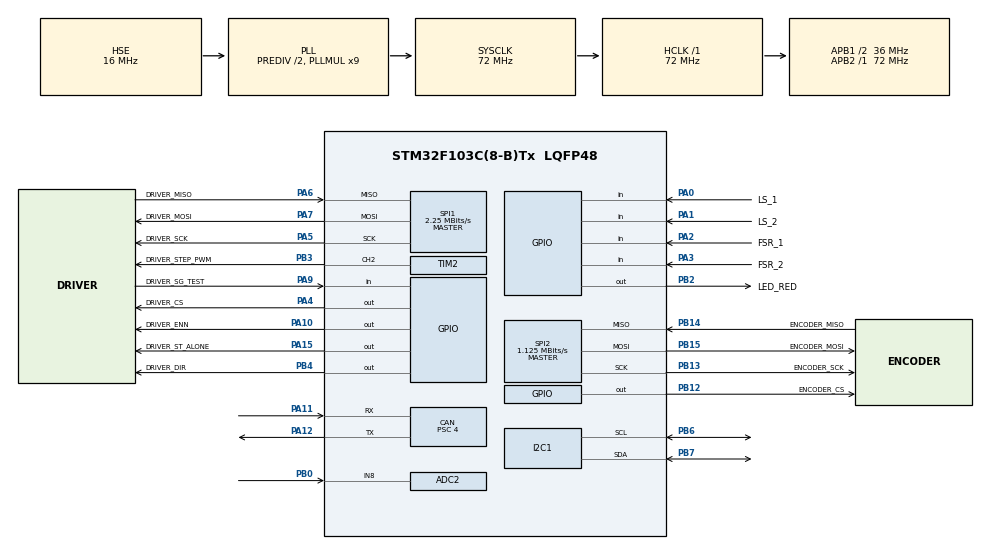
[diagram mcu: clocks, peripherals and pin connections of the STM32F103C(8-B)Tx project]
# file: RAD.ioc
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ADC2.ContinuousConvMode=DISABLE
ADC2.EnableRegularConversion=DISABLE
CAN.BS1=CAN_BS1_15TQ
CAN.BS2=CAN_BS2_2TQ
CAN.CalculateBaudRate=500000
CAN.CalculateTimeBit=2000
CAN.CalculateTimeQuantum=111.11111111111111
CAN.NART=ENABLE
CAN.Prescaler=4
CAN.SJW=CAN_SJW_2TQ
Dma.Request0=TIM2_CH2/CH4
Dma.TIM2_CH2/CH4.0.Direction=DMA_PERIPH_TO_MEMORY
Dma.TIM2_CH2/CH4.0.Instance=DMA1_Channel7
Dma.TIM2_CH2/CH4.0.MemDataAlignment=DMA_MDATAALIGN_HALFWORD
Dma.TIM2_CH2/CH4.0.MemInc=DMA_MINC_ENABLE
Dma.TIM2_CH2/CH4.0.Mode=DMA_NORMAL
Dma.TIM2_CH2/CH4.0.PeriphDataAlignment=DMA_PDATAALIGN_HALFWORD
Dma.TIM2_CH2/CH4.0.PeriphInc=DMA_PINC_DISABLE
Dma.TIM2_CH2/CH4.0.Priority=DMA_PRIORITY_LOW
Mcu.Family=STM32F1
Mcu.Name=STM32F103C(8-B)Tx
Mcu.Package=LQFP48
NVIC.DMA1_Channel7_IRQn=true\:0\:0\:false\:false\:true\:false\:true\:true
NVIC.PriorityGroup=NVIC_PRIORITYGROUP_4
NVIC.USB_LP_CAN1_RX0_IRQn=true\:2\:0\:true\:false\:true\:true\:true\:true
PA0-WKUP.GPIO_Label=LS_1
PA0-WKUP.Signal=GPIO_Input
PA1.GPIO_Label=LS_2
PA1.Signal=GPIO_Input
PA10.GPIO_Label=DRIVER_ENN
PA10.Signal=GPIO_Output
PA11.Mode=CAN_Activate
PA11.Signal=CAN_RX
PA12.Mode=CAN_Activate
PA12.Signal=CAN_TX
PA13.Mode=Serial_Wire
PA13.Signal=SYS_JTMS-SWDIO
PA14.Mode=Serial_Wire
PA14.Signal=SYS_JTCK-SWCLK
PA15.GPIO_Label=DRIVER_ST_ALONE
PA15.Signal=GPIO_Output
PA2.GPIO_Label=FSR_1
PA2.Signal=GPIO_Input
PA3.GPIO_Label=FSR_2
PA3.Signal=GPIO_Input
PA4.GPIO_Label=DRIVER_CS
PA4.Signal=GPIO_Output
PA5.GPIO_Label=DRIVER_SCK
PA5.Mode=Full_Duplex_Master
PA5.Signal=SPI1_SCK
PA6.GPIO_Label=DRIVER_MISO
PA6.Mode=Full_Duplex_Master
PA6.Signal=SPI1_MISO
PA7.GPIO_Label=DRIVER_MOSI
PA7.Mode=Full_Duplex_Master
PA7.Signal=SPI1_MOSI
PA9.GPIO_Label=DRIVER_SG_TEST
PA9.Signal=GPIO_Input
PB0.Signal=ADCx_IN8
PB12.GPIO_Label=ENCODER_CS
PB12.Signal=GPIO_Output
PB13.GPIO_Label=ENCODER_SCK
PB13.Mode=Full_Duplex_Master
PB13.Signal=SPI2_SCK
PB14.GPIO_Label=ENCODER_MISO
PB14.Mode=Full_Duplex_Master
PB14.Signal=SPI2_MISO
PB15.GPIO_Label=ENCODER_MOSI
PB15.Mode=Full_Duplex_Master
PB15.Signal=SPI2_MOSI
PB2.GPIO_Label=LED_RED
PB2.Signal=GPIO_Output
PB3.GPIO_Label=DRIVER_STEP_PWM
PB3.Signal=S_TIM2_CH2
PB4.GPIO_Label=DRIVER_DIR
PB4.Signal=GPIO_Output
PB6.Mode=I2C
PB6.Signal=I2C1_SCL
PB7.Mode=I2C
PB7.Signal=I2C1_SDA
PD0-OSC_IN.Mode=HSE-External-Oscillator
PD0-OSC_IN.Signal=RCC_OSC_IN
PD1-OSC_OUT.Mode=HSE-External-Oscillator
PD1-OSC_OUT.Signal=RCC_OSC_OUT
ProjectManager.HeapSize=0x200
ProjectManager.StackSize=0x400
ProjectManager.TargetToolchain=STM32CubeIDE
RCC.ADCPresc=RCC_ADCPCLK2_DIV6
RCC.AHBFreq_Value=72000000
RCC.APB1CLKDivider=RCC_HCLK_DIV2
RCC.APB1Freq_Value=36000000
RCC.APB1TimFreq_Value=72000000
RCC.APB2Freq_Value=72000000
RCC.APB2TimFreq_Value=72000000
RCC.HCLKFreq_Value=72000000
RCC.HSEDivPLL=RCC_HSE_PREDIV_DIV2
RCC.HSE_VALUE=16000000
RCC.PLLMUL=RCC_PLL_MUL9
RCC.PLLSourceVirtual=RCC_PLLSOURCE_HSE
RCC.SYSCLKFreq_VALUE=72000000
RCC.SYSCLKSource=RCC_SYSCLKSOURCE_PLLCLK
RCC.USBFreq_Value=72000000
SH.ADCx_IN8.0=ADC2_IN8,IN8
SH.S_TIM2_CH2.0=TIM2_CH2,PWM Generation2 CH2
SPI1.BaudRatePrescaler=SPI_BAUDRATEPRESCALER_32
SPI1.CLKPhase=SPI_PHASE_2EDGE
SPI1.CLKPolarity=SPI_POLARITY_HIGH
SPI1.CalculateBaudRate=2.25 MBits/s
SPI1.Direction=SPI_DIRECTION_2LINES
SPI1.Mode=SPI_MODE_MASTER
SPI1.VirtualType=VM_MASTER
SPI2.BaudRatePrescaler=SPI_BAUDRATEPRESCALER_32
SPI2.CLKPhase=SPI_PHASE_2EDGE
SPI2.CalculateBaudRate=1.125 MBits/s
SPI2.Direction=SPI_DIRECTION_2LINES
SPI2.Mode=SPI_MODE_MASTER
SPI2.VirtualType=VM_MASTER
TIM2.Channel-PWM\ Generation2\ CH2=TIM_CHANNEL_2
TIM2.OCMode_PWM-PWM\ Generation2\ CH2=TIM_OCMODE_PWM2
TIM2.Period=100-1
TIM2.Prescaler=720-1
VP_TIM2_VS_ClockSourceINT.Mode=Internal
board=custom

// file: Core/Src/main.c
/* USER CODE BEGIN Header */
/**
 ******************************************************************************
 * @file           : main.c
 * @brief          : Main program body
 ******************************************************************************
 * @attention
 *
 * Copyright (c) 2024 MMRT.
 * All rights reserved.
 *
 * This software is licensed under terms that can be found in the LICENSE file
 * in the root directory of this software component.
 * If no LICENSE file comes with this software, it is provided AS-IS.
 *
 ******************************************************************************
 */
/* USER CODE END Header */
#include "main.h"
#include "adc.h"
#include "can.h"
#include "dma.h"
#include "i2c.h"
#include "spi.h"
#include "tim.h"
#include "gpio.h"

/* USER CODE BEGIN Includes */
#include "at24c04c.h"
#include "tmc_2590.h"
#include "as5048a.h"
#include "pid.h"
#include "queue.h"
#include "enc_dec_utils.h"
#include "rad_ntcb572.h"
/* USER CODE END Includes */

/* USER CODE BEGIN PD */
#define RAD_PARAMS_EEPROM_PAGE 0
#define HARDSTOP_SAFETY_MARGIN 5
#define AVERAGING_WINDOW_SIZE 10

#define MOTOR_GEARING gearing
#define STEPS_PER_REVOLUTION steps_per_revolution
#define MAX_ROTATIONS max_rotations

/* USER CODE END PD */

/* USER CODE BEGIN PV */
RAD_STATUS_TypeDef rad_status;
RAD_PARAMS_TypeDef rad_params;

uint8_t ESTOP = 0;
uint8_t DISABLED = 0;

uint16_t min_angle;
uint16_t max_angle;
uint16_t gearing;
uint16_t max_rotations;
uint16_t steps_per_revolution;

float software_stop = 0;
uint8_t cw_enable = 0;
uint8_t ccw_enable = 0;

double* angle_average_buffer;
uint8_t buffer_head;

int16_t steps_to_move;

uint32_t prev_ms = 0;

/* USER CODE END PV */

void SystemClock_Config(void);

int main(void)
{

  /* USER CODE BEGIN 1 */

    //SET DEFAULT VALUES

	rad_params.RAD_ID = 0xF0;
    rad_params.RAD_TYPE = RAD_TYPE_UNDEFINED;
    rad_params.HOME_POSITION = RAD_TYPE_DRIVETRAIN_MAX_ROTATIONS/2;
    rad_params.STEPPER_SPEED = 1000;
    rad_params.ODOM_INTERVAL = 20; //50hz, or 20ms
    rad_params.HEALTH_INTERVAL = 1000; //every second
    rad_params.P = 0.01;
    rad_params.I = 0.0000001;
    rad_params.D = 0;

    rad_params.CHOPCONF_CHM = 0b0;
    rad_params.CHOPCONF_HDEC = 0b00;
    rad_params.CHOPCONF_HEND = 0b0100;
    rad_params.CHOPCONF_HSTRT = 0b110;
    rad_params.CHOPCONF_RNDTF = 0b0;
    rad_params.CHOPCONF_TBL = 0b10;
    rad_params.CHOPCONF_TOFF = 0b100;

    rad_params.DRVCONF_DIS_S2G = 0b0;
    rad_params.DRVCONF_EN_PFD = 0b1;
    rad_params.DRVCONF_EN_S2VS = 0b1;
    rad_params.DRVCONF_OTSENS = 0b0;
    rad_params.DRVCONF_RDSEL = 0b11;
    rad_params.DRVCONF_SDOFF = 0b0;
    rad_params.DRVCONF_SHRTSENS = 0b1;
    rad_params.DRVCONF_SLP = 0b11110;
    rad_params.DRVCONF_TS2G = 0b00;
    rad_params.DRVCONF_TST = 0b0;
    rad_params.DRVCONF_VSENSE = 0b0;

    rad_params.DRVCTRL_DEDGE = 0b0;
    rad_params.DRVCTRL_INTPOL = 0b1;
    rad_params.DRVCTRL_MRES = 0b1000;

    rad_params.SGCSCONF_CS = 5;
    rad_params.SGCSCONF_SFILT = 0b0;
    rad_params.SGCSCONF_SGT = 0b0000010;

    rad_params.SMARTEN_SEDN = 0b00;
    rad_params.SMARTEN_SEIMIN = 0b0;
    rad_params.SMARTEN_SEMAX = 0b0000;
    rad_params.SMARTEN_SEMIN = 0b0000;
    rad_params.SMARTEN_SEUP = 0b00;

    rad_params.PID_MIN_OUTPUT = 20;
    rad_params.PID_MAX_OUTPUT = 1000;

    rad_params.HOME_OFFSET = 0;

    rad_params.SW_STOP_ENABLED = 0;
    rad_params.WATCH_DOG_ENABLED = 0;

  /* USER CODE END 1 */

  /* MCU Configuration--------------------------------------------------------*/

  /* Reset of all peripherals, Initializes the Flash interface and the Systick. */
  HAL_Init();

  /* Configure the system clock */
  SystemClock_Config();

  /* Initialize all configured peripherals */
  MX_GPIO_Init();
  MX_DMA_Init();
  MX_CAN_Init();
  MX_I2C1_Init();
  MX_SPI1_Init();
  MX_SPI2_Init();
  MX_TIM2_Init();
  MX_ADC2_Init();
  /* USER CODE BEGIN 2 */

    //READ EEPROM HERE. Update rad_params if successful read

    MX_AT24C04C_1_Init();

    //temporary so we don't cook stepper settings from reading garbage data from eeprom
    RAD_PARAMS_TypeDef eeprom_params;

    rad_status.EEPROM_STATUS = AT24C04C_ReadPages(&at24c04c_1, (uint8_t*)&eeprom_params, sizeof(RAD_PARAMS_TypeDef), RAD_PARAMS_EEPROM_PAGE);

    if (rad_status.EEPROM_STATUS == AT24C04C_OK)
    {
        //NORMAL OPERATION
       rad_params = eeprom_params;

    //     IGNORE EEPROM AND SET DEFAULT PARAMS FOR FIRST EEPROM SAVE
//     rad_params.RAD_ID = 0x19;
//     rad_params.RAD_TYPE = RAD_TYPE_ARM_WRIST_RIGHT;
//     rad_params.ODOM_INTERVAL = 100;
//     rad_params.HEALTH_INTERVAL = 1000;

    }

    rad_status.flags = (rad_params.SW_STOP_ENABLED) | (rad_params.WATCH_DOG_ENABLED | rad_params.MOTION_PROFILE_ENABLED);

    MX_TMC_2590_1_Init();
    MX_AS5048A_1_Init();
    MX_PID_1_Init();
    MX_RAD_NTCB572_Init();

    switch(rad_params.RAD_TYPE)
    {
        case RAD_TYPE_DRIVETRAIN_LIMIT_SWITCH_RIGHT:
        case RAD_TYPE_DRIVETRAIN_LIMIT_SWITCH_LEFT:
        {
            MAX_ROTATIONS = RAD_TYPE_DRIVETRAIN_MAX_ROTATIONS;
            MOTOR_GEARING = RAD_TYPE_DRIVETRAIN_GEARING;
            STEPS_PER_REVOLUTION = RAD_TYPE_DRIVETRAIN_STEPS_PER_REVOLUTION;
            tmc_2590_1.Init.inverted = RAD_TYPE_DRIVETRAIN_INVERSION_FACTOR;

            break;
        }
        case RAD_TYPE_ARM_BASE:
        {
            MAX_ROTATIONS = RAD_TYPE_ARM_BASE_MAX_ROTATIONS;
            MOTOR_GEARING = RAD_TYPE_ARM_BASE_GEARING;
            STEPS_PER_REVOLUTION = RAD_TYPE_ARM_BASE_STEPS_PER_REVOLUTION;
            tmc_2590_1.Init.inverted = RAD_TYPE_DRIVETRAIN_INVERSION_FACTOR;
            break;
        }
        case RAD_TYPE_ARM_SHOULDER:
        {
            MAX_ROTATIONS = RAD_TYPE_ARM_SHOULDER_MAX_ROTATIONS;
            MOTOR_GEARING = RAD_TYPE_ARM_SHOULDER_GEARING;
            STEPS_PER_REVOLUTION = RAD_TYPE_ARM_SHOULDER_STEPS_PER_REVOLUTION;
            tmc_2590_1.Init.inverted = RAD_TYPE_ARM_INVERSION_FACTOR;
            break;
        }
        case RAD_TYPE_ARM_ELBOW:
        {
            MAX_ROTATIONS = RAD_TYPE_ARM_ELBOW_MAX_ROTATIONS;
            MOTOR_GEARING = RAD_TYPE_ARM_ELBOW_GEARING;
            STEPS_PER_REVOLUTION = RAD_TYPE_ARM_ELBOW_STEPS_PER_REVOLUTION;
            tmc_2590_1.Init.inverted = RAD_TYPE_ARM_INVERSION_FACTOR;
            break;
        }
        case RAD_TYPE_ARM_WRIST_LEFT:
        case RAD_TYPE_ARM_WRIST_RIGHT:
        {
            MAX_ROTATIONS = RAD_TYPE_DRIVETRAIN_MAX_ROTATIONS;
            MOTOR_GEARING = RAD_TYPE_DRIVETRAIN_GEARING;
            STEPS_PER_REVOLUTION = RAD_TYPE_DRIVETRAIN_STEPS_PER_REVOLUTION;
            // Wrist motors are the same as drive train
            tmc_2590_1.Init.inverted = RAD_TYPE_DRIVETRAIN_INVERSION_FACTOR;
            break;
        }
        case RAD_TYPE_ARM_GRIPPER:
        {
            MAX_ROTATIONS = RAD_TYPE_DRIVETRAIN_MAX_ROTATIONS;
            MOTOR_GEARING = RAD_TYPE_DRIVETRAIN_GEARING;
            STEPS_PER_REVOLUTION = RAD_TYPE_DRIVETRAIN_STEPS_PER_REVOLUTION;
            tmc_2590_1.Init.inverted = RAD_TYPE_ARM_INVERSION_FACTOR;
            break;
        }
        case RAD_TYPE_UNDEFINED:
        default:
        {
            MAX_ROTATIONS = 5; //60 degrees
            MOTOR_GEARING = RAD_TYPE_DRIVETRAIN_GEARING;
            STEPS_PER_REVOLUTION = RAD_TYPE_DRIVETRAIN_STEPS_PER_REVOLUTION;
            tmc_2590_1.Init.inverted = RAD_TYPE_ARM_INVERSION_FACTOR;

            break;
        }
    }

    min_angle = 0;
    max_angle = 360 * MAX_ROTATIONS / MOTOR_GEARING;

    angle_average_buffer = (double*) calloc(AVERAGING_WINDOW_SIZE, sizeof(double));

    MX_CAN_UpdateIdAndFilters(&rad_can);

    uint32_t arr = HAL_TIM_CalculateAutoReload(tmc_2590_1.Init.STEP_Tim, rad_params.STEPPER_SPEED);

    TMC_2590_SetTimAutoReload(&tmc_2590_1, arr);

    //SEND ERROR CODES OF EACH INIT MODULE
    MX_CAN_Broadcast_Health_Message(&rad_can, rad_status);

  /* USER CODE END 2 */

  /* Infinite loop */
  /* USER CODE BEGIN WHILE */

    static enum
    {
        RAD_STATE_INIT = 0,
        RAD_STATE_PULSE_CONTROL,
        RAD_STATE_CALIBRATION,
        RAD_STATE_ACTIVE
    } rad_state = RAD_STATE_INIT;

    while (1)
    {
        //Check and process global messages first
        if (!queue_empty(&can_message_queue_global))
        {
            RAD_CAN_Message_TypeDef *new_message =
                    (RAD_CAN_Message_TypeDef*) queue_front(
                            &can_message_queue_global);

            switch ((int)(new_message->command_id))
            {
                case ESTOP_MESSAGE:
                {
                    ESTOP = 1;
                    break;
                }
                case DISABLE_MESSAGE:
                {
                    DISABLED = 1;
                    break;
                }
                case ENABLE_MESSAGE:
                {
                    rad_state = RAD_STATE_PULSE_CONTROL;
                    DISABLED = 0;
                    break;
                }
                case HEALTH_STATUS_PING:
                {
                    MX_CAN_Broadcast_Health_Message(&rad_can, rad_status);
                    break;
                }
                default:
                {
                    break;
                }
            }

            free(new_message->data);
            queue_dequeue(&can_message_queue_global);
        }
        //Only check rad queue after. This allows global messages to be addressed immediately
        else if (!queue_empty(&can_message_queue_rad))
        {
            RAD_CAN_Message_TypeDef *new_message =
                    (RAD_CAN_Message_TypeDef*) queue_front(
                            &can_message_queue_rad);

            switch ((int)(new_message->command_id))
            {

                case SET_TARGET_ANGLE:
                {
                    double new_setpoint = decode_double_big_endian(new_message->data);

                    if (rad_params.RAD_TYPE != RAD_TYPE_ARM_WRIST_LEFT &&
                        rad_params.RAD_TYPE != RAD_TYPE_ARM_WRIST_RIGHT)
                    {
                        if (new_setpoint < min_angle)
                        {
                            new_setpoint = min_angle;
                        }
                        else if (new_setpoint > max_angle)
                        {
                            new_setpoint = max_angle;
                        }
                        PID_ChangeSetPoint(&pid_1, new_setpoint*MOTOR_GEARING);
                    }
                    else
                    {
                        // Set raw setpoint for wrist motors
                        PID_ChangeSetPoint(&pid_1, new_setpoint);
                    }

                    // Enable Watch Dog here
                    if (rad_params.WATCH_DOG_ENABLED)
                    {
                    	rad_can.watchdog_kick = 1;
                    }
                    break;
                }
                case GET_ENCODER_VALUE:
                {
                    rad_status.current_angle = (double) (pid_1.feedback_adj / MOTOR_GEARING); //skip the buffer
                    MX_CAN_Broadcast_Odometry_Message(&rad_can, rad_status);
                    break;
                }
                case SET_STEPPER_SPEED:
                {
                    //1 calculate ARR from inputted desired freq
                    //Will be an integer floor divide so will not always be the same as input

                	uint32_t arr = HAL_TIM_CalculateAutoReload(tmc_2590_1.Init.STEP_Tim,
                        decode_uint32_big_endian(new_message->data));

                    //2 assign ARR to timer

                    TMC_2590_SetTimAutoReload(&tmc_2590_1, arr);

                    //3 update local stepper speed reference to the integer value

                    rad_params.STEPPER_SPEED = HAL_TIM_CalculateFrequency(tmc_2590_1.Init.STEP_Tim);

                    break;
                }
                case GET_STEPPER_SPEED:
                {
                    MX_CAN_Broadcast_Uint32_Data(&rad_can, rad_params.STEPPER_SPEED, GET_STEPPER_SPEED);
                    break;
                }
                case SET_RAD_FLAGS:
                {
                	uint8_t flags = new_message->data[0];
                	rad_params.SW_STOP_ENABLED = flags & (1 << 0);
                	rad_params.WATCH_DOG_ENABLED = flags & (1 << 1);
                	rad_status.flags = (rad_params.SW_STOP_ENABLED) | (rad_params.WATCH_DOG_ENABLED);
                	break;
                }
                case GET_RAD_FLAGS:
                {
                	MX_CAN_Broadcast_Uint8_Data(&rad_can, rad_status.flags, GET_RAD_FLAGS);
                	break;
                }
                case SET_P_VALUE:
                {
                    pid_1.Init.kp = decode_double_big_endian(new_message->data);
                    rad_params.P = pid_1.Init.kp;
                    break;
                }
                case GET_P_VALUE:
                {
                    MX_CAN_Broadcast_Double_Data(&rad_can, pid_1.Init.kp, GET_P_VALUE);
                    break;
                }
                case SET_I_VALUE:
                {
                    pid_1.Init.ki = decode_double_big_endian(new_message->data);
                    rad_params.I = pid_1.Init.ki;
                    break;
                }
                case GET_I_VALUE:
                {
                    MX_CAN_Broadcast_Double_Data(&rad_can, pid_1.Init.ki, GET_I_VALUE);
                    break;
                }
                case SET_D_VALUE:
                {
                    pid_1.Init.kd = decode_double_big_endian(new_message->data);
                    rad_params.D = pid_1.Init.kd;
                    break;
                }
                case GET_D_VALUE:
                {
                    MX_CAN_Broadcast_Double_Data(&rad_can, pid_1.Init.kd, GET_D_VALUE);
                    break;
                }
                case SET_RAD_TYPE:
                {
                    rad_params.RAD_TYPE = new_message->data[0];
                    break;
                }
                case GET_RAD_TYPE:
                {
                    MX_CAN_Broadcast_Uint32_Data(&rad_can, rad_params.RAD_TYPE, GET_RAD_TYPE);
                    break;
                }
                case SET_HOME_POSITION:
                {
                    rad_params.HOME_POSITION = decode_uint32_big_endian(new_message->data);
                    break;
                }
                case GET_HOME_POSITION:
                {
                    MX_CAN_Broadcast_Uint32_Data(&rad_can, rad_params.HOME_POSITION, GET_HOME_POSITION);
                    break;
                }
                case SET_ODOM_INTERVAL:
                {
                    rad_params.ODOM_INTERVAL = decode_uint32_big_endian(new_message->data);
                    break;
                }
                case GET_ODOM_INTERVAL:
                {
                    MX_CAN_Broadcast_Uint32_Data(&rad_can, rad_params.ODOM_INTERVAL, GET_ODOM_INTERVAL);
                    break;
                }
                case SAVE_TO_EEPROM:
                {
                    AT24C04C_WritePages(&at24c04c_1, (uint8_t*)&rad_params, sizeof(RAD_PARAMS_TypeDef), RAD_PARAMS_EEPROM_PAGE);
                    break;
                }
                case RELOAD_FROM_EEPROM:
                {
                    AT24C04C_ReadPages(&at24c04c_1, (uint8_t*)&rad_params, sizeof(RAD_PARAMS_TypeDef), RAD_PARAMS_EEPROM_PAGE);
                    break;
                }
                case SET_HEALTH_INTERVAL:
                {
                    rad_params.HEALTH_INTERVAL = decode_uint32_big_endian(new_message->data);
                    break;
                }
                case GET_HEALTH_INTERVAL:
                {
                    MX_CAN_Broadcast_Uint32_Data(&rad_can, rad_params.HEALTH_INTERVAL, GET_HEALTH_INTERVAL);
                    break;
                }
                case START_CALIBRATE:
                {
                    rad_state = RAD_STATE_CALIBRATION;
                    break;
                }
                case CANCEL_CALIBRATION:
                {
                    //cancel mid calibration OR ignore calibrated params and return to pulse
                    rad_state = RAD_STATE_INIT;
                    break;
                }
                case SET_DRVCONF_TST:
                {
                    tmc_2590_1.ConfRegisters.DRVCONF.tst = new_message->data[0]; //uint8, big endian
                    rad_status.TMC_STATUS = TMC_2590_WriteConfRegisters(&tmc_2590_1);
                    rad_params.DRVCONF_TST = tmc_2590_1.ConfRegisters.DRVCONF.tst;
                    break;
                }
                case GET_DRVCONF_TST:
                {
                    MX_CAN_Broadcast_Uint8_Data(&rad_can, tmc_2590_1.ConfRegisters.DRVCONF.tst, GET_DRVCONF_TST);
                    break;
                }
                case SET_DRVCONF_SLP:
                {
                    tmc_2590_1.ConfRegisters.DRVCONF.slp = new_message->data[0]; //uint8, big endian
                    rad_status.TMC_STATUS = TMC_2590_WriteConfRegisters(&tmc_2590_1);
                    rad_params.DRVCONF_SLP = tmc_2590_1.ConfRegisters.DRVCONF.slp;
                    break;
                }
                case GET_DRVCONF_SLP:
                {
                    MX_CAN_Broadcast_Uint8_Data(&rad_can, tmc_2590_1.ConfRegisters.DRVCONF.slp, GET_DRVCONF_SLP);
                    break;
                }
                case SET_DRVCONF_DIS_S2G:
                {
                    tmc_2590_1.ConfRegisters.DRVCONF.dis_s2g = new_message->data[0]; //uint8, big endian
                    rad_status.TMC_STATUS = TMC_2590_WriteConfRegisters(&tmc_2590_1);
                    rad_params.DRVCONF_DIS_S2G= tmc_2590_1.ConfRegisters.DRVCONF.dis_s2g;
                    break;
                }
                case GET_DRVCONF_DIS_S2G:
                {
                    MX_CAN_Broadcast_Uint8_Data(&rad_can, tmc_2590_1.ConfRegisters.DRVCONF.dis_s2g, GET_DRVCONF_DIS_S2G);
                    break;
                }
                case SET_DRVCONF_TS2G:
                {
                    tmc_2590_1.ConfRegisters.DRVCONF.ts2g = new_message->data[0]; //uint8, big endian
                    rad_status.TMC_STATUS = TMC_2590_WriteConfRegisters(&tmc_2590_1);
                    rad_params.DRVCONF_TS2G = tmc_2590_1.ConfRegisters.DRVCONF.ts2g;
                    break;
                }
                case GET_DRVCONF_TS2G:
                {
                    MX_CAN_Broadcast_Uint8_Data(&rad_can, tmc_2590_1.ConfRegisters.DRVCONF.ts2g, GET_DRVCONF_TS2G);
                    break;
                }
                case SET_DRVCONF_SDOFF:
                {
                    tmc_2590_1.ConfRegisters.DRVCONF.sdoff = new_message->data[0]; //uint8, big endian
                    rad_status.TMC_STATUS = TMC_2590_WriteConfRegisters(&tmc_2590_1);
                    rad_params.DRVCONF_SDOFF = tmc_2590_1.ConfRegisters.DRVCONF.sdoff;
                    break;
                }
                case GET_DRVCONF_SDOFF:
                {
                    MX_CAN_Broadcast_Uint8_Data(&rad_can, tmc_2590_1.ConfRegisters.DRVCONF.sdoff, GET_DRVCONF_SDOFF);
                    break;
                }
                case SET_DRVCONF_VSENSE:
                {
                    tmc_2590_1.ConfRegisters.DRVCONF.vsense = new_message->data[0]; //uint8, big endian
                    rad_status.TMC_STATUS = TMC_2590_WriteConfRegisters(&tmc_2590_1);
                    rad_params.DRVCONF_VSENSE = tmc_2590_1.ConfRegisters.DRVCONF.vsense;
                    break;
                }
                case GET_DRVCONF_VSENSE:
                {
                    MX_CAN_Broadcast_Uint8_Data(&rad_can, tmc_2590_1.ConfRegisters.DRVCONF.vsense, GET_DRVCONF_VSENSE);
                    break;
                }
                case SET_DRVCONF_RDSEL:
                {
                    tmc_2590_1.ConfRegisters.DRVCONF.rdsel = new_message->data[0]; //uint8, big endian
                    rad_status.TMC_STATUS = TMC_2590_WriteConfRegisters(&tmc_2590_1);
                    rad_params.DRVCONF_RDSEL = tmc_2590_1.ConfRegisters.DRVCONF.rdsel;
                    break;
                }
                case GET_DRVCONF_RDSEL:
                {
                    MX_CAN_Broadcast_Uint8_Data(&rad_can, tmc_2590_1.ConfRegisters.DRVCONF.rdsel, GET_DRVCONF_RDSEL);
                    break;
                }
                case SET_DRVCONF_OTSENS:
                {
                    tmc_2590_1.ConfRegisters.DRVCONF.otsens = new_message->data[0]; //uint8, big endian
                    rad_status.TMC_STATUS = TMC_2590_WriteConfRegisters(&tmc_2590_1);
                    rad_params.DRVCONF_OTSENS = tmc_2590_1.ConfRegisters.DRVCONF.otsens;
                    break;
                }
                case GET_DRVCONF_OTSENS:
                {
                    MX_CAN_Broadcast_Uint8_Data(&rad_can, tmc_2590_1.ConfRegisters.DRVCONF.otsens, GET_DRVCONF_OTSENS);
                    break;
                }
                case SET_DRVCONF_SHRTSENS:
                {
                    tmc_2590_1.ConfRegisters.DRVCONF.shrtsens = new_message->data[0]; //uint8, big endian
                    rad_status.TMC_STATUS = TMC_2590_WriteConfRegisters(&tmc_2590_1);
                    rad_params.DRVCONF_SHRTSENS = tmc_2590_1.ConfRegisters.DRVCONF.shrtsens;
                    break;
                }
                case GET_DRVCONF_SHRTSENS:
                {
                    MX_CAN_Broadcast_Uint8_Data(&rad_can, tmc_2590_1.ConfRegisters.DRVCONF.shrtsens, GET_DRVCONF_SHRTSENS);
                    break;
                }
                case SET_DRVCONF_EN_PFD:
                {
                    tmc_2590_1.ConfRegisters.DRVCONF.en_pfd = new_message->data[0]; //uint8, big endian
                    rad_status.TMC_STATUS = TMC_2590_WriteConfRegisters(&tmc_2590_1);
                    rad_params.DRVCONF_EN_PFD = tmc_2590_1.ConfRegisters.DRVCONF.en_pfd;
                    break;
                }
                case GET_DRVCONF_EN_PFD:
                {
                    MX_CAN_Broadcast_Uint8_Data(&rad_can, tmc_2590_1.ConfRegisters.DRVCONF.en_pfd, GET_DRVCONF_EN_PFD);
                    break;
                }
                case SET_DRVCONF_EN_S2VS:
                {
                    tmc_2590_1.ConfRegisters.DRVCONF.en_s2vs = new_message->data[0]; //uint8, big endian
                    rad_status.TMC_STATUS = TMC_2590_WriteConfRegisters(&tmc_2590_1);
                    rad_params.DRVCONF_EN_S2VS = tmc_2590_1.ConfRegisters.DRVCONF.en_s2vs;
                    break;
                }
                case GET_DRVCONF_EN_S2VS:
                {
                    MX_CAN_Broadcast_Uint8_Data(&rad_can, tmc_2590_1.ConfRegisters.DRVCONF.en_s2vs, GET_DRVCONF_EN_S2VS);
                    break;
                }
                case SET_SGCSCONF_SFILT:
                {
                    tmc_2590_1.ConfRegisters.SGCSCONF.sfilt = new_message->data[0]; //uint8, big endian
                    rad_status.TMC_STATUS = TMC_2590_WriteConfRegisters(&tmc_2590_1);
                    rad_params.SGCSCONF_SFILT = tmc_2590_1.ConfRegisters.SGCSCONF.sfilt;
                    break;
                }
                case GET_SGCSCONF_SFILT:
                {
                    MX_CAN_Broadcast_Uint8_Data(&rad_can, tmc_2590_1.ConfRegisters.SGCSCONF.sfilt, GET_SGCSCONF_SFILT);
                    break;
                }
                case SET_SGCSCONF_SGT:
                {
                    tmc_2590_1.ConfRegisters.SGCSCONF.sgt = new_message->data[0]; //uint8, big endian
                    rad_status.TMC_STATUS = TMC_2590_WriteConfRegisters(&tmc_2590_1);
                    rad_params.SGCSCONF_SGT = tmc_2590_1.ConfRegisters.SGCSCONF.sgt;
                    break;
                }
                case GET_SGCSCONF_SGT:
                {
                    MX_CAN_Broadcast_Uint8_Data(&rad_can, tmc_2590_1.ConfRegisters.SGCSCONF.sgt, GET_SGCSCONF_SGT);
                    break;
                }
                case SET_SGCSCONF_CS:
                {
                    tmc_2590_1.ConfRegisters.SGCSCONF.cs = new_message->data[0]; //uint8, big endian
                    rad_status.TMC_STATUS = TMC_2590_WriteConfRegisters(&tmc_2590_1);
                    rad_params.SGCSCONF_CS = tmc_2590_1.ConfRegisters.SGCSCONF.cs;
                    break;
                }
                case GET_SGCSCONF_CS:
                {
                    MX_CAN_Broadcast_Uint8_Data(&rad_can, tmc_2590_1.ConfRegisters.SGCSCONF.cs, GET_SGCSCONF_CS);
                    break;
                }
                case SET_SMARTEN_SEIMIN:
                {
                    tmc_2590_1.ConfRegisters.SMARTEN.seimin = new_message->data[0]; //uint8, big endian
                    rad_status.TMC_STATUS = TMC_2590_WriteConfRegisters(&tmc_2590_1);
                    rad_params.SMARTEN_SEIMIN = tmc_2590_1.ConfRegisters.SMARTEN.seimin;
                    break;
                }
                case GET_SMARTEN_SEIMIN:
                {
                    MX_CAN_Broadcast_Uint8_Data(&rad_can, tmc_2590_1.ConfRegisters.SMARTEN.seimin, GET_SMARTEN_SEIMIN);
                    break;
                }
                case SET_SMARTEN_SEDN:
                {
                    tmc_2590_1.ConfRegisters.SMARTEN.sedn = decode_uint16_big_endian(new_message->data); //uint8, big endian
                    rad_status.TMC_STATUS = TMC_2590_WriteConfRegisters(&tmc_2590_1);
                    rad_params.SMARTEN_SEDN = tmc_2590_1.ConfRegisters.SMARTEN.sedn;
                    break;
                }
                case GET_SMARTEN_SEDN:
                {
                    MX_CAN_Broadcast_Uint16_Data(&rad_can, tmc_2590_1.ConfRegisters.SMARTEN.sedn, GET_SMARTEN_SEDN);
                    break;
                }
                case SET_SMARTEN_SEMAX:
                {
                    tmc_2590_1.ConfRegisters.SMARTEN.semax = new_message->data[0]; //uint8, big endian
                    rad_status.TMC_STATUS = TMC_2590_WriteConfRegisters(&tmc_2590_1);
                    rad_params.SMARTEN_SEMAX = tmc_2590_1.ConfRegisters.SMARTEN.semax;
                    break;
                }
                case GET_SMARTEN_SEMAX:
                {
                    MX_CAN_Broadcast_Uint8_Data(&rad_can, tmc_2590_1.ConfRegisters.SMARTEN.semax, GET_SMARTEN_SEMAX);
                    break;
                }
                case SET_SMARTEN_SEUP:
                {
                    tmc_2590_1.ConfRegisters.SMARTEN.seup = new_message->data[0]; //uint8, big endian
                    rad_status.TMC_STATUS = TMC_2590_WriteConfRegisters(&tmc_2590_1);
                    rad_params.SMARTEN_SEUP = tmc_2590_1.ConfRegisters.SMARTEN.seup;
                    break;
                }
                case GET_SMARTEN_SEUP:
                {
                    MX_CAN_Broadcast_Uint8_Data(&rad_can, tmc_2590_1.ConfRegisters.SMARTEN.seup, GET_SMARTEN_SEUP);
                    break;
                }
                case SET_SMARTEN_SEMIN:
                {
                    tmc_2590_1.ConfRegisters.SMARTEN.semin = new_message->data[0]; //uint8, big endian
                    rad_status.TMC_STATUS = TMC_2590_WriteConfRegisters(&tmc_2590_1);
                    rad_params.SMARTEN_SEMIN = tmc_2590_1.ConfRegisters.SMARTEN.semin;
                    break;
                }
                case GET_SMARTEN_SEMIN:
                {
                    MX_CAN_Broadcast_Uint8_Data(&rad_can, tmc_2590_1.ConfRegisters.SMARTEN.semin, GET_SMARTEN_SEMIN);
                    break;
                }
                case SET_CHOPCONF_TBL:
                {
                    tmc_2590_1.ConfRegisters.CHOPCONF.tbl = new_message->data[0]; //uint8, big endian
                    rad_status.TMC_STATUS = TMC_2590_WriteConfRegisters(&tmc_2590_1);
                    rad_params.CHOPCONF_TBL = tmc_2590_1.ConfRegisters.CHOPCONF.tbl;
                    break;
                }
                case GET_CHOPCONF_TBL:
                {
                    MX_CAN_Broadcast_Uint8_Data(&rad_can, tmc_2590_1.ConfRegisters.CHOPCONF.tbl, GET_CHOPCONF_TBL);
                    break;
                }
                case SET_CHOPCONF_CHM:
                {
                    tmc_2590_1.ConfRegisters.CHOPCONF.chm = new_message->data[0]; //uint8, big endian
                    rad_status.TMC_STATUS = TMC_2590_WriteConfRegisters(&tmc_2590_1);
                    rad_params.CHOPCONF_CHM = tmc_2590_1.ConfRegisters.CHOPCONF.chm;
                    break;
                }
                case GET_CHOPCONF_CHM:
                {
                    MX_CAN_Broadcast_Uint8_Data(&rad_can, tmc_2590_1.ConfRegisters.CHOPCONF.chm, GET_CHOPCONF_CHM);
                    break;
                }
                case SET_CHOPCONF_RNDTF:
                {
                    tmc_2590_1.ConfRegisters.CHOPCONF.rndtf = new_message->data[0]; //uint8, big endian
                    rad_status.TMC_STATUS = TMC_2590_WriteConfRegisters(&tmc_2590_1);
                    rad_params.CHOPCONF_RNDTF = tmc_2590_1.ConfRegisters.CHOPCONF.rndtf;
                    break;
                }
                case GET_CHOPCONF_RNDTF:
                {
                    MX_CAN_Broadcast_Uint8_Data(&rad_can, tmc_2590_1.ConfRegisters.CHOPCONF.rndtf, GET_CHOPCONF_RNDTF);
                    break;
                }
                case SET_CHOPCONF_HDEC:
                {
                    tmc_2590_1.ConfRegisters.CHOPCONF.hdec = new_message->data[0]; //uint8, big endian
                    rad_status.TMC_STATUS = TMC_2590_WriteConfRegisters(&tmc_2590_1);
                    rad_params.CHOPCONF_HDEC = tmc_2590_1.ConfRegisters.CHOPCONF.hdec;
                    break;
                }
                case GET_CHOPCONF_HDEC:
                {
                    MX_CAN_Broadcast_Uint8_Data(&rad_can, tmc_2590_1.ConfRegisters.CHOPCONF.hdec, GET_CHOPCONF_HDEC);
                    break;
                }
                case SET_CHOPCONF_HEND:
                {
                    tmc_2590_1.ConfRegisters.CHOPCONF.hend = new_message->data[0]; //uint8, big endian
                    rad_status.TMC_STATUS = TMC_2590_WriteConfRegisters(&tmc_2590_1);
                    rad_params.CHOPCONF_HEND = tmc_2590_1.ConfRegisters.CHOPCONF.hend;
                    break;
                }
                case GET_CHOPCONF_HEND:
                {
                    MX_CAN_Broadcast_Uint8_Data(&rad_can, tmc_2590_1.ConfRegisters.CHOPCONF.hend, GET_CHOPCONF_HEND);
                    break;
                }
                case SET_CHOPCONF_HSTRT:
                {
                    tmc_2590_1.ConfRegisters.CHOPCONF.hstrt = new_message->data[0]; //uint8, big endian
                    rad_status.TMC_STATUS = TMC_2590_WriteConfRegisters(&tmc_2590_1);
                    rad_params.CHOPCONF_HSTRT = tmc_2590_1.ConfRegisters.CHOPCONF.hstrt;
                    break;
                }
                case GET_CHOPCONF_HSTRT:
                {
                    MX_CAN_Broadcast_Uint8_Data(&rad_can, tmc_2590_1.ConfRegisters.CHOPCONF.hstrt, GET_CHOPCONF_HSTRT);
                    break;
                }
                case SET_CHOPCONF_TOFF:
                {
                    tmc_2590_1.ConfRegisters.CHOPCONF.toff = new_message->data[0]; //uint8, big endian
                    rad_status.TMC_STATUS = TMC_2590_WriteConfRegisters(&tmc_2590_1);
                    rad_params.CHOPCONF_TOFF = tmc_2590_1.ConfRegisters.CHOPCONF.toff;
                    break;
                }
                case GET_CHOPCONF_TOFF:
                {
                    MX_CAN_Broadcast_Uint8_Data(&rad_can, tmc_2590_1.ConfRegisters.CHOPCONF.toff, GET_CHOPCONF_TOFF);
                    break;
                }
                case SET_DRVCTRL_INTPOL:
                {
                    tmc_2590_1.ConfRegisters.DRVCTRL.intpol = new_message->data[0]; //uint8, big endian
                    rad_status.TMC_STATUS = TMC_2590_WriteConfRegisters(&tmc_2590_1);
                    rad_params.DRVCTRL_INTPOL = tmc_2590_1.ConfRegisters.DRVCTRL.intpol;
                    break;
                }
                case GET_DRVCTRL_INTPOL:
                {
                    MX_CAN_Broadcast_Uint8_Data(&rad_can, tmc_2590_1.ConfRegisters.DRVCTRL.intpol, GET_DRVCTRL_INTPOL);
                    break;
                }
                case SET_DRVCTRL_DEDGE:
                {
                    tmc_2590_1.ConfRegisters.DRVCTRL.dedge = new_message->data[0]; //uint8, big endian
                    rad_status.TMC_STATUS = TMC_2590_WriteConfRegisters(&tmc_2590_1);
                    rad_params.DRVCTRL_DEDGE = tmc_2590_1.ConfRegisters.DRVCTRL.dedge;
                    break;
                }
                case GET_DRVCTRL_DEDGE:
                {
                    MX_CAN_Broadcast_Uint8_Data(&rad_can, tmc_2590_1.ConfRegisters.DRVCTRL.dedge, GET_DRVCTRL_DEDGE);
                    break;
                }
                case SET_DRVCTRL_MRES:
                {
                    tmc_2590_1.ConfRegisters.DRVCTRL.mres = new_message->data[0]; //uint8, big endian
                    rad_status.TMC_STATUS = TMC_2590_WriteConfRegisters(&tmc_2590_1);
                    rad_params.DRVCTRL_MRES = tmc_2590_1.ConfRegisters.DRVCTRL.mres;
                    break;
                }
                case GET_DRVCTRL_MRES:
                {
                    MX_CAN_Broadcast_Uint8_Data(&rad_can, tmc_2590_1.ConfRegisters.DRVCTRL.mres, GET_DRVCTRL_MRES);
                    break;
                }
                case PULSE_STEPPER:
                {
                    float pulses = decode_float_big_endian(new_message->data);
                    steps_to_move = (int16_t) pulses;

                    //cap steps
                    if (steps_to_move > tmc_2590_1.Init.max_steps)
                    {
                        steps_to_move = tmc_2590_1.Init.max_steps;
                    }
                    else if (steps_to_move < -1*(tmc_2590_1.Init.max_steps))
                    {
                        steps_to_move = -1*tmc_2590_1.Init.max_steps;
                    }

                    rad_state = RAD_STATE_PULSE_CONTROL;

                    break;
                }
                case REBOOT:
                {
                	HAL_NVIC_SystemReset();
                    break;
                }
                case ASSIGN_DEVICE_ID:
                {
                    rad_can.id = new_message->data[0];
                    rad_params.RAD_ID = rad_can.id;

                    MX_CAN_UpdateIdAndFilters(&rad_can);

                    break;
                }
                case SET_PID_MIN_OUTPUT:
                {
                    pid_1.Init.min_output_abs = (double) decode_uint16_big_endian(new_message->data);
                    rad_params.PID_MIN_OUTPUT = pid_1.Init.min_output_abs;

                    break;
                }
                case GET_PID_MIN_OUTPUT:
                {
                    MX_CAN_Broadcast_Uint16_Data(&rad_can, pid_1.Init.min_output_abs, GET_PID_MIN_OUTPUT);
                    break;
                }
                case SET_PID_MAX_OUTPUT:
                {
                    pid_1.Init.max_output_abs = (double) decode_uint16_big_endian(new_message->data);
                    rad_params.PID_MAX_OUTPUT = pid_1.Init.max_output_abs;

                    break;
                }
                case GET_PID_MAX_OUTPUT:
                {
                    MX_CAN_Broadcast_Uint16_Data(&rad_can, (uint16_t) pid_1.Init.max_output_abs, GET_PID_MAX_OUTPUT);
                    break;
                }
                case SET_HOME_OFFSET:
                {

                    //don't apply offset without working encoder
                    // if (rad_status.ENCODER_STATUS != AS5048A_OK)
                    // {
                    //     break;
                    // }

                    // //number of steps the stepper is offset by
                    // double delta_stepper = (pid_1.__set_point - pid_1.feedback_adj);

                    // //store values in PID reference frame
                    // rad_params.HOME_OFFSET = delta_stepper;

                    break;

                }
                case GET_HOME_OFFSET:
                {
                    //MX_CAN_Broadcast_Double_Data(&rad_can, rad_params.HOME_OFFSET, GET_HOME_OFFSET);
                    break;
                }

                case SET_MAX_POINT:
                {
                    // For wrist
                    PID_SetMaxPoint(&pid_1, new_message->data[0]);
                    PID_ChangeSetPoint(&pid_1, (new_message->data[0]) * MAX_ROTATIONS);
                    PID_Update_BangBang(&pid_1);
                    rad_state = RAD_STATE_ACTIVE;
                    break;
                }
                case SET_ZERO_POINT:
                {
                    // For wrist
                    PID_SetZeroPoint(&pid_1);
                    PID_ChangeSetPoint(&pid_1, 0.0);
                    PID_Update_BangBang(&pid_1);
                    rad_state = RAD_STATE_ACTIVE;
                    break;
                }
                default:
                    break;
            }
            free(new_message->data);
            queue_dequeue(&can_message_queue_rad);

        }

        //CHECK FOR ESTOP
        if (ESTOP)
        {
        	HAL_GPIO_WritePin(LED_RED_GPIO_Port, LED_RED_Pin, GPIO_PIN_SET);
            break;
        }
        if (DISABLED)
        {
        	steps_to_move = 0;
        	HAL_GPIO_WritePin(LED_RED_GPIO_Port, LED_RED_Pin, GPIO_PIN_SET);
            continue;
        }
        else
        {
        	HAL_GPIO_WritePin(LED_RED_GPIO_Port, LED_RED_Pin, GPIO_PIN_RESET);
        }

        switch (rad_state)
        {

            case RAD_STATE_INIT:
            {
                //init stuff here
                rad_state = RAD_STATE_PULSE_CONTROL;
                break;
            }
            case RAD_STATE_PULSE_CONTROL:
            {
                GPIO_PinState ls_state = HAL_GPIO_ReadPin(LS_1_GPIO_Port, LS_1_Pin);
                GPIO_PinState ls_state_2 = HAL_GPIO_ReadPin(LS_2_GPIO_Port, LS_2_Pin);

                rad_status.ls_1 = ls_state;
                rad_status.ls_2 = ls_state_2;

                cw_enable = 1;
        	    ccw_enable = 1;

                if (ls_state == GPIO_PIN_SET)
                {
                    switch (rad_params.RAD_TYPE)
                    {

                        case RAD_TYPE_DRIVETRAIN_LIMIT_SWITCH_RIGHT:
                        {
                            cw_enable = 0;
                            ccw_enable = 1;
                            break;
                        }
                        case RAD_TYPE_DRIVETRAIN_LIMIT_SWITCH_LEFT:
                        {
                            cw_enable = 1;
                            ccw_enable = 0;
                            break;
                        }
                        case RAD_TYPE_ARM_SHOULDER:
                        {
                            cw_enable = 0;
                            ccw_enable = 1;
                            break;
                        }
                        case RAD_TYPE_ARM_ELBOW:
                        {
                            cw_enable = 0;
                            ccw_enable = 1;
                            break;
                        }

                        default:
                            break;
				    }
                }
                if (ls_state_2 == GPIO_PIN_SET)
                {
                    switch (rad_params.RAD_TYPE)
                    {
                        case RAD_TYPE_ARM_SHOULDER:
                        {
                            cw_enable = 1;
                            ccw_enable = 0;
                            break;
                        }
                        case RAD_TYPE_ARM_ELBOW:
                        {
                            cw_enable = 1;
                            ccw_enable = 0;
                            break;
                        }

                        default:
                            break;
				    }

                }

                if (!rad_params.SW_STOP_ENABLED)
                {
                	cw_enable = 1;
                	ccw_enable = 1;
                }

                if ((steps_to_move > 0) && cw_enable)
                {

                    if (TMC_2590_CheckState(&tmc_2590_1) == TMC_2590_BUSY)
                    {
                        TMC_2590_Stop(&tmc_2590_1);
                    }
                    rad_status.TMC_STATUS = TMC_2590_MoveSteps(&tmc_2590_1, steps_to_move);
                }
                else if ((steps_to_move < 0) && ccw_enable)
                {
                    if (TMC_2590_CheckState(&tmc_2590_1) == TMC_2590_BUSY)
                    {
                        TMC_2590_Stop(&tmc_2590_1);
                    }
                    rad_status.TMC_STATUS = TMC_2590_MoveSteps(&tmc_2590_1, steps_to_move);
                }

                steps_to_move = 0;

                //keep the encoder updated if we still have it - for open loop
                if ((rad_status.ENCODER_STATUS = AS5048A_ReadAngle(&as5048a_1)) == AS5048A_OK)
                {
                    PID_Update_RolloverCount(&pid_1);
                }

                break;
            }
            case RAD_STATE_CALIBRATION:
            {

                GPIO_PinState ls_state = HAL_GPIO_ReadPin(LS_1_GPIO_Port, LS_1_Pin);
                rad_status.ls_1 = ls_state;

                GPIO_PinState ls_state_2 = HAL_GPIO_ReadPin(LS_2_GPIO_Port, LS_2_Pin);
				rad_status.ls_2 = ls_state_2;

                if (ls_state == GPIO_PIN_SET)
                {
                    TMC_2590_Stop(&tmc_2590_1);
                    switch (rad_params.RAD_TYPE)
                    {
                        case RAD_TYPE_DRIVETRAIN_LIMIT_SWITCH_RIGHT:

                            PID_SetMaxPoint(&pid_1, MAX_ROTATIONS);
                            PID_ChangeSetPoint(&pid_1, max_angle*MOTOR_GEARING);
                            software_stop = min_angle;

                            break;
                        case RAD_TYPE_DRIVETRAIN_LIMIT_SWITCH_LEFT:

                            PID_SetZeroPoint(&pid_1);
                            PID_ChangeSetPoint(&pid_1, min_angle*MOTOR_GEARING);

                            software_stop = max_angle;
                            break;

                        case RAD_TYPE_ARM_SHOULDER:
                            PID_SetZeroPoint(&pid_1);
                            PID_ChangeSetPoint(&pid_1, 0.0);
                            break;

                        case RAD_TYPE_ARM_BASE:
                            PID_SetZeroPoint(&pid_1);
                            break;

                        case RAD_TYPE_ARM_ELBOW:
                            PID_SetMaxPoint(&pid_1, RAD_TYPE_ARM_ELBOW_MAX_ROTATIONS);
                            PID_ChangeSetPoint(&pid_1, RAD_TYPE_ARM_ELBOW_MAX_ROTATIONS*360);
                            break;

                        default:
                            break;
                    }

                    PID_Update_BangBang(&pid_1);
                    PID_Update_BangBang(&pid_1);
                    PID_Update_BangBang(&pid_1);

                    //PID_Update(&pid_1);

                    rad_state = RAD_STATE_ACTIVE;
        	    }
                else if (ls_state_2 == GPIO_PIN_SET && rad_params.RAD_TYPE > RAD_TYPE_DRIVETRAIN_LIMIT_SWITCH_LEFT)
                {
                    TMC_2590_Stop(&tmc_2590_1);
                    switch (rad_params.RAD_TYPE)
                    {
                        case RAD_TYPE_ARM_SHOULDER:
                            PID_SetMaxPoint(&pid_1, RAD_TYPE_ARM_SHOULDER_MAX_ROTATIONS);
                            PID_ChangeSetPoint(&pid_1, RAD_TYPE_ARM_SHOULDER_MAX_ROTATIONS*360);
                            break;

                        case RAD_TYPE_ARM_ELBOW:
                            PID_SetZeroPoint(&pid_1);
                            PID_ChangeSetPoint(&pid_1, 0);
                            break;
                        default:
                            break;
                    }

                    PID_Update_BangBang(&pid_1);
                    PID_Update_BangBang(&pid_1);
                    PID_Update_BangBang(&pid_1);

                    rad_state = RAD_STATE_ACTIVE;

                }
                else
                {
                    switch (rad_params.RAD_TYPE)
                    {
                        case RAD_TYPE_DRIVETRAIN_LIMIT_SWITCH_RIGHT:
                        {
                            rad_status.TMC_STATUS = TMC_2590_MoveSteps(&tmc_2590_1, 50);
                            break;
                        }
                        case RAD_TYPE_DRIVETRAIN_LIMIT_SWITCH_LEFT:
                        {
                            rad_status.TMC_STATUS = TMC_2590_MoveSteps(&tmc_2590_1, -50);
                            break;
                        }
                        case RAD_TYPE_ARM_SHOULDER:
                        {
                            rad_status.TMC_STATUS = TMC_2590_MoveSteps(&tmc_2590_1, 500);
                            break;
                        }
                        case RAD_TYPE_ARM_ELBOW:
                        {
                            rad_status.TMC_STATUS = TMC_2590_MoveSteps(&tmc_2590_1, 500);
                            break;
                        }

                    default:
                        break;
                    }
                }

                break;
            }
            case RAD_STATE_ACTIVE:
            {

                cw_enable = 1;
        	    ccw_enable = 1;

                GPIO_PinState ls_state = HAL_GPIO_ReadPin(LS_1_GPIO_Port, LS_1_Pin);
                rad_status.ls_1 = ls_state;

                GPIO_PinState ls_state_2 = HAL_GPIO_ReadPin(LS_2_GPIO_Port, LS_2_Pin);
                rad_status.ls_2 = ls_state_2;

                uint8_t i = 0; //safety limit
                static uint8_t consecutive_encoder_failures = 0;
                while ((rad_status.ENCODER_STATUS = AS5048A_ReadAngle(&as5048a_1)) != AS5048A_OK)
                {
                    if (i++ > 10)
                    {
                        break;
                    }
                }

                if (rad_status.ENCODER_STATUS != AS5048A_OK)
                {
                    if (consecutive_encoder_failures++ > 3)
                    {
                         //encoder has failed
                        rad_state = RAD_STATE_PULSE_CONTROL;
                    }
                    ccw_enable = 0;
                    cw_enable = 0;
                }
                else
                {
                    //reset failure counter
                    consecutive_encoder_failures = 0;

                    //Don't update PID unless we have a new value
                    PID_Update_BangBang(&pid_1);
                }

                 if (rad_params.SW_STOP_ENABLED && ls_state == GPIO_PIN_SET)
                {
                    switch (rad_params.RAD_TYPE)
                    {

                        case RAD_TYPE_DRIVETRAIN_LIMIT_SWITCH_RIGHT:
                        {

                            PID_SetMaxPoint(&pid_1, MAX_ROTATIONS);

                            cw_enable = 0;
                            ccw_enable = 1;
                            break;
                        }
                        case RAD_TYPE_DRIVETRAIN_LIMIT_SWITCH_LEFT:
                        {

                            PID_SetZeroPoint(&pid_1);

                            cw_enable = 1;
                            ccw_enable = 0;
                            break;
                        }
                        case RAD_TYPE_ARM_SHOULDER:
                        {
                            PID_SetZeroPoint(&pid_1);
                            cw_enable = 0;
                            ccw_enable = 1;
                            break;
                        }
                        case RAD_TYPE_ARM_ELBOW:
                        {
                            cw_enable = 0;
                            ccw_enable = 1;
                            break;
                        }
                        default:
                            break;
				    }

                }
                else if (rad_params.SW_STOP_ENABLED && ls_state_2 == GPIO_PIN_SET)
                {
                    switch (rad_params.RAD_TYPE)
                    {
                        case RAD_TYPE_ARM_SHOULDER:
                        {
                            PID_SetMaxPoint(&pid_1, RAD_TYPE_ARM_SHOULDER_MAX_ROTATIONS);
                            cw_enable = 1;
                            ccw_enable = 0;
                            break;
                        }
                        case RAD_TYPE_ARM_ELBOW:
                        {
                            cw_enable = 1;
                            ccw_enable = 0;
                            break;
                        }

                        default:
                            break;
				    }

                }
                else
                {
                    switch (rad_params.RAD_TYPE)
                    {
                        case RAD_TYPE_DRIVETRAIN_LIMIT_SWITCH_RIGHT:
                        {
                            if ((pid_1.feedback_adj / MOTOR_GEARING) <= (software_stop + HARDSTOP_SAFETY_MARGIN))
                            {
                                cw_enable = 1;
                                ccw_enable = 0;
                                PID_ClearIError(&pid_1);
                            }
                            break;
                        }
                        case RAD_TYPE_DRIVETRAIN_LIMIT_SWITCH_LEFT:
                        {
                            if ((pid_1.feedback_adj / MOTOR_GEARING) >= (software_stop - HARDSTOP_SAFETY_MARGIN))
                            {
                                cw_enable = 0;
                                ccw_enable = 1;
                                PID_ClearIError(&pid_1);
                            }
                            break;
                        }

                        default:
                            break;
                    }
                }

                //convert degrees to steps
                int16_t angle_to_steps_converstion = (int16_t) (pid_1.output * (double) STEPS_PER_REVOLUTION / 360.0); // 0.555555556

                if ((pid_1.output > 0) && cw_enable)
                {
                    rad_status.TMC_STATUS = TMC_2590_MoveSteps(&tmc_2590_1, angle_to_steps_converstion);
                }
                else if ((pid_1.output < 0) && ccw_enable)
                {
                    rad_status.TMC_STATUS = TMC_2590_MoveSteps(&tmc_2590_1, angle_to_steps_converstion);
                }
                else if ((cw_enable == 0) || (ccw_enable == 0))
                {
                    TMC_2590_Stop(&tmc_2590_1);
                }

                // Once timeout is exceeded, disable close loop control
                if (rad_can.watchdog_kick && rad_can.timer > CAN_MESSAGE_TIMEOUT_MS)
                {
                    rad_state = RAD_STATE_PULSE_CONTROL;
                    rad_can.watchdog_kick = 0;
                }

                break;
            }
            default:
            {
                rad_state = RAD_STATE_INIT;
                break;
            }
        }

        //angle_average_buffer[buffer_head++ % AVERAGING_WINDOW_SIZE] = (double) (pid_1.feedback_adj / MOTOR_GEARING);

        if ((rad_params.ODOM_INTERVAL != 0) && (HAL_GetTick() % rad_params.ODOM_INTERVAL == 0))
        {
//             double sum = 0;
//             for (int i = 0; i < AVERAGING_WINDOW_SIZE; i++)
//             {
//                 sum = sum + angle_average_buffer[i];
//             }
            //rad_status.current_angle = (double) sum / AVERAGING_WINDOW_SIZE;
            if (rad_params.RAD_TYPE != RAD_TYPE_ARM_WRIST_LEFT &&
                rad_params.RAD_TYPE != RAD_TYPE_ARM_WRIST_RIGHT)
            {
                rad_status.current_angle = (double) (pid_1.feedback_adj / MOTOR_GEARING);
            }
            else
            {
                rad_status.current_angle = (double) (pid_1.feedback_adj);
            }
        	//rad_status.current_angle = (double) pid_1.output;
            //AS5048A_ReadAngle(&as5048a_1);
            //rad_status.current_angle = as5048a_1.Angle_double;

            MX_CAN_Broadcast_Odometry_Message(&rad_can, rad_status);
        }
        if ((rad_params.HEALTH_INTERVAL != 0) && (HAL_GetTick() % rad_params.HEALTH_INTERVAL == 0))
        {
            rad_status.RAD_STATE = rad_state;
            //Update TMC state as it changes asynchrnously
            rad_status.TMC_STATUS = TMC_2590_CheckState(&tmc_2590_1);

            rad_status.NTC_STATUS = NTC_ReadTemperatureC(&rad_ntc1, &rad_status.temperature);
            if (rad_status.NTC_STATUS == NTC_OK)
            {
                MX_CAN_Broadcast_Double_Data(&rad_can, rad_status.temperature, SEND_TEMPERATURE);
            }

            MX_CAN_Broadcast_Health_Message(&rad_can, rad_status);

        }

        rad_can.timer += HAL_GetTick() - prev_ms;
        prev_ms = HAL_GetTick();

    /* USER CODE END WHILE */

    }
}

void SystemClock_Config(void)
{
  RCC_OscInitTypeDef RCC_OscInitStruct = {0};
  RCC_ClkInitTypeDef RCC_ClkInitStruct = {0};
  RCC_PeriphCLKInitTypeDef PeriphClkInit = {0};

  /** Initializes the RCC Oscillators according to the specified parameters
  * in the RCC_OscInitTypeDef structure.
  */
  RCC_OscInitStruct.OscillatorType = RCC_OSCILLATORTYPE_HSE;
  RCC_OscInitStruct.HSEState = RCC_HSE_ON;
  RCC_OscInitStruct.HSEPredivValue = RCC_HSE_PREDIV_DIV2;
  RCC_OscInitStruct.HSIState = RCC_HSI_ON;
  RCC_OscInitStruct.PLL.PLLState = RCC_PLL_ON;
  RCC_OscInitStruct.PLL.PLLSource = RCC_PLLSOURCE_HSE;
  RCC_OscInitStruct.PLL.PLLMUL = RCC_PLL_MUL9;
  if (HAL_RCC_OscConfig(&RCC_OscInitStruct) != HAL_OK)
  {
    Error_Handler();
  }

  /** Initializes the CPU, AHB and APB buses clocks
  */
  RCC_ClkInitStruct.ClockType = RCC_CLOCKTYPE_HCLK|RCC_CLOCKTYPE_SYSCLK
                              |RCC_CLOCKTYPE_PCLK1|RCC_CLOCKTYPE_PCLK2;
  RCC_ClkInitStruct.SYSCLKSource = RCC_SYSCLKSOURCE_PLLCLK;
  RCC_ClkInitStruct.AHBCLKDivider = RCC_SYSCLK_DIV1;
  RCC_ClkInitStruct.APB1CLKDivider = RCC_HCLK_DIV2;
  RCC_ClkInitStruct.APB2CLKDivider = RCC_HCLK_DIV1;

  if (HAL_RCC_ClockConfig(&RCC_ClkInitStruct, FLASH_LATENCY_2) != HAL_OK)
  {
    Error_Handler();
  }
  PeriphClkInit.PeriphClockSelection = RCC_PERIPHCLK_ADC;
  PeriphClkInit.AdcClockSelection = RCC_ADCPCLK2_DIV6;
  if (HAL_RCCEx_PeriphCLKConfig(&PeriphClkInit) != HAL_OK)
  {
    Error_Handler();
  }
}

/* USER CODE BEGIN 4 */
void HAL_TIM_PWM_PulseFinishedCallback(TIM_HandleTypeDef *htim)
{
    TMC_2590_TIM_PWM_PulseFinishedCallback(&tmc_2590_1, htim);
}
/* USER CODE END 4 */

void Error_Handler(void)
{
    __disable_irq();
    while (1)
    {
    }
}
